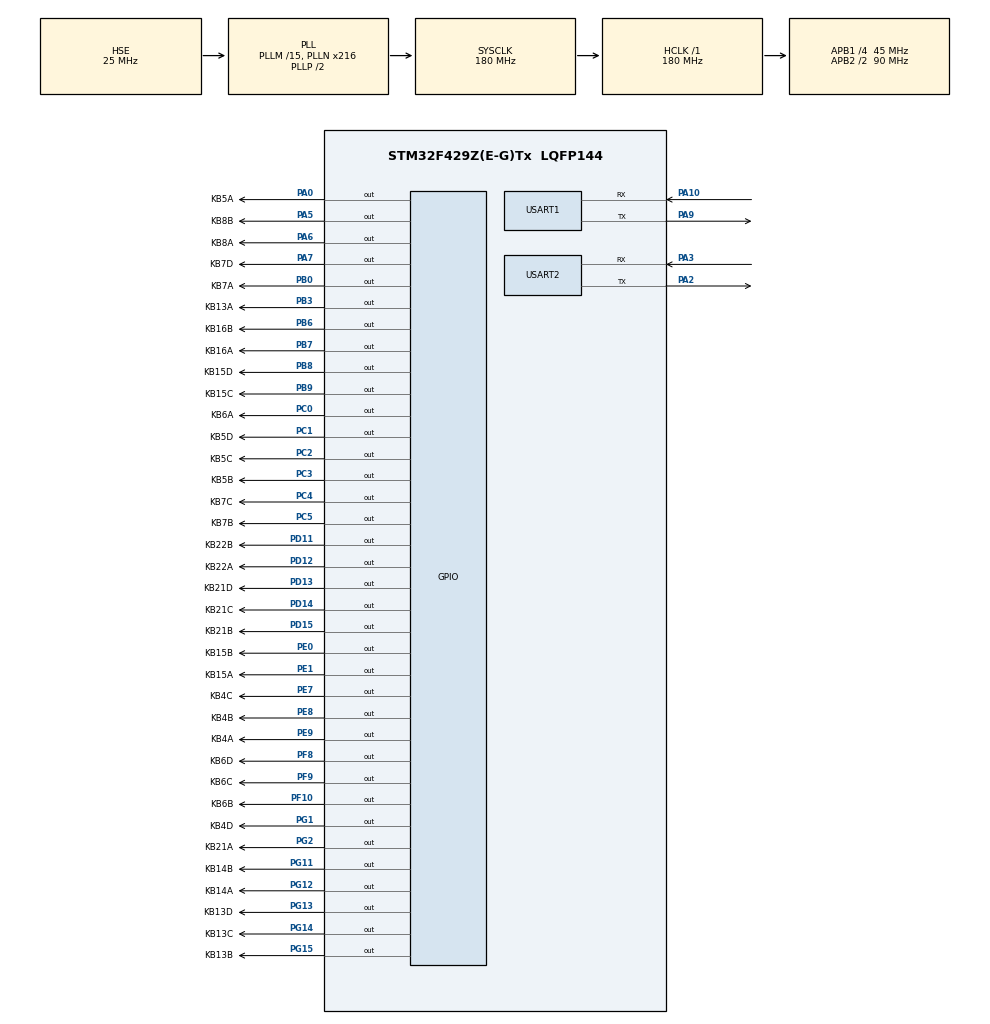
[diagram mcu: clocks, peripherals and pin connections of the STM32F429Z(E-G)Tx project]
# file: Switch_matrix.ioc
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Mcu.Family=STM32F4
Mcu.Name=STM32F429Z(E-G)Tx
Mcu.Package=LQFP144
NVIC.PriorityGroup=NVIC_PRIORITYGROUP_2
NVIC.USART1_IRQn=true\:1\:1\:true\:false\:true\:true\:true\:true
NVIC.USART2_IRQn=true\:1\:0\:true\:false\:true\:true\:true\:true
PA0/WKUP.GPIO_Label=KB5A
PA0/WKUP.Signal=GPIO_Output
PA10.Mode=Asynchronous
PA10.Signal=USART1_RX
PA13.Mode=Serial_Wire
PA13.Signal=SYS_JTMS-SWDIO
PA14.Mode=Serial_Wire
PA14.Signal=SYS_JTCK-SWCLK
PA2.Mode=Asynchronous
PA2.Signal=USART2_TX
PA3.Mode=Asynchronous
PA3.Signal=USART2_RX
PA5.GPIO_Label=KB8B
PA5.Signal=GPIO_Output
PA6.GPIO_Label=KB8A
PA6.Signal=GPIO_Output
PA7.GPIO_Label=KB7D
PA7.Signal=GPIO_Output
PA9.Mode=Asynchronous
PA9.Signal=USART1_TX
PB0.GPIO_Label=KB7A
PB0.Signal=GPIO_Output
PB3.GPIO_Label=KB13A
PB3.Signal=GPIO_Output
PB6.GPIO_Label=KB16B
PB6.Signal=GPIO_Output
PB7.GPIO_Label=KB16A
PB7.Signal=GPIO_Output
PB8.GPIO_Label=KB15D
PB8.Signal=GPIO_Output
PB9.GPIO_Label=KB15C
PB9.Signal=GPIO_Output
PC0.GPIO_Label=KB6A
PC0.Signal=GPIO_Output
PC1.GPIO_Label=KB5D
PC1.Signal=GPIO_Output
PC14/OSC32_IN.Mode=LSE-External-Oscillator
PC14/OSC32_IN.Signal=RCC_OSC32_IN
PC15/OSC32_OUT.Mode=LSE-External-Oscillator
PC15/OSC32_OUT.Signal=RCC_OSC32_OUT
PC2.GPIO_Label=KB5C
PC2.Signal=GPIO_Output
PC3.GPIO_Label=KB5B
PC3.Signal=GPIO_Output
PC4.GPIO_Label=KB7C
PC4.Signal=GPIO_Output
PC5.GPIO_Label=KB7B
PC5.Signal=GPIO_Output
PD11.GPIO_Label=KB22B
PD11.Signal=GPIO_Output
PD12.GPIO_Label=KB22A
PD12.Signal=GPIO_Output
PD13.GPIO_Label=KB21D
PD13.Signal=GPIO_Output
PD14.GPIO_Label=KB21C
PD14.Signal=GPIO_Output
PD15.GPIO_Label=KB21B
PD15.Signal=GPIO_Output
PE0.GPIO_Label=KB15B
PE0.Signal=GPIO_Output
PE1.GPIO_Label=KB15A
PE1.Signal=GPIO_Output
PE7.GPIO_Label=KB4C
PE7.Signal=GPIO_Output
PE8.GPIO_Label=KB4B
PE8.Signal=GPIO_Output
PE9.GPIO_Label=KB4A
PE9.Signal=GPIO_Output
PF10.GPIO_Label=KB6B
PF10.Signal=GPIO_Output
PF8.GPIO_Label=KB6D
PF8.Signal=GPIO_Output
PF9.GPIO_Label=KB6C
PF9.Signal=GPIO_Output
PG1.GPIO_Label=KB4D
PG1.Signal=GPIO_Output
PG11.GPIO_Label=KB14B
PG11.Signal=GPIO_Output
PG12.GPIO_Label=KB14A
PG12.Signal=GPIO_Output
PG13.GPIO_Label=KB13D
PG13.Signal=GPIO_Output
PG14.GPIO_Label=KB13C
PG14.Signal=GPIO_Output
PG15.GPIO_Label=KB13B
PG15.Signal=GPIO_Output
PG2.GPIO_Label=KB21A
PG2.Signal=GPIO_Output
PH0/OSC_IN.Mode=HSE-External-Oscillator
PH0/OSC_IN.Signal=RCC_OSC_IN
PH1/OSC_OUT.Mode=HSE-External-Oscillator
PH1/OSC_OUT.Signal=RCC_OSC_OUT
ProjectManager.HeapSize=0x200
ProjectManager.StackSize=0x400
ProjectManager.TargetToolchain=MDK-ARM V5.32
RCC.48MHZClocksFreq_Value=90000000
RCC.AHBFreq_Value=180000000
RCC.APB1CLKDivider=RCC_HCLK_DIV4
RCC.APB1Freq_Value=45000000
RCC.APB1TimFreq_Value=90000000
RCC.APB2CLKDivider=RCC_HCLK_DIV2
RCC.APB2Freq_Value=90000000
RCC.APB2TimFreq_Value=180000000
RCC.CortexFreq_Value=180000000
RCC.HCLKFreq_Value=180000000
RCC.HSE_VALUE=25000000
RCC.HSI_VALUE=16000000
RCC.PLLM=15
RCC.PLLN=216
RCC.PLLSourceVirtual=RCC_PLLSOURCE_HSE
RCC.SYSCLKFreq_VALUE=180000000
RCC.SYSCLKSource=RCC_SYSCLKSOURCE_PLLCLK
RCC.VCOOutputFreq_Value=360000000
USART1.VirtualMode=VM_ASYNC
USART2.VirtualMode=VM_ASYNC
board=custom

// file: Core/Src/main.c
/* USER CODE BEGIN Header */
/**
  ******************************************************************************
  * @file           : main.c
  * @brief          : Main program body
  ******************************************************************************
  * @attention
  *
  * Copyright (c) 2022 STMicroelectronics.
  * All rights reserved.
  *
  * This software is licensed under terms that can be found in the LICENSE file
  * in the root directory of this software component.
  * If no LICENSE file comes with this software, it is provided AS-IS.
  *
  ******************************************************************************
  */
/* USER CODE END Header */
#include "main.h"
#include "usart.h"
#include "gpio.h"

/* USER CODE BEGIN Includes */
#include "stm32f4xx_it.h"
#include "string.h"
/* USER CODE END Includes */

/* USER CODE BEGIN PD */
#define USART_REC_LEN  			200  	//定义最大接收字节数 200
#define  UART_ENABLE_RE(USARTx)       USARTx.Instance->CR1|= (uint32_t)0x0004
#define  UART_DISABLE_RE(USARTx)      USARTx.Instance->CR1&= (~(uint32_t)0x0004)
/* USER CODE END PD */

void SystemClock_Config(void);
/* USER CODE BEGIN PFP */
void Data_Processing(void);  //串口数据处理函数
/* 入口参数
 * mode： 输入输出模式 0：输入 1： 输出
 * Number:  选择打开的链路
 */
void GPIO_CONTROL_STATUS(uint8_t mode ,uint8_t Number);
/* USER CODE END PFP */

/* USER CODE BEGIN 0 */

uint8_t Recevice_Buff[USART_REC_LEN];   //接收缓冲区
//接收状态
//bit15，	接收完成标志
//bit14，	接收到帧头
//bit13，  接收到正确数据类型
//bit12，  接收到数据长度
//bit11，  接收到帧尾
//bit10~0，	接收到的有效字节数目
uint16_t USART_RX_STA = 0;       //接收状态标记
#define RXBUFFERSIZE  1
extern uint8_t aRxBuffer[RXBUFFERSIZE];
uint8_t Recevice_Len = 2;
uint8_t Recevice_Len_temp = 2;   //接收数据的长度  默认为2  一个输入 一个输出
uint8_t Usart_Flag = 0;   //0: 串口一发送的数据 1： 串口二发送的数据
/* USER CODE END 0 */

int main(void)
{

  /* MCU Configuration--------------------------------------------------------*/

  /* Reset of all peripherals, Initializes the Flash interface and the Systick. */
  HAL_Init();

  /* Configure the system clock */
  SystemClock_Config();

  /* Initialize all configured peripherals */
  MX_GPIO_Init();
  MX_USART1_UART_Init();
  MX_USART2_UART_Init();

  /* Infinite loop */
  /* USER CODE BEGIN WHILE */
  while (1)
  {
		if(USART_RX_STA&0x8000) //接收到数据
		{
			//数据解析 以防数据覆盖关闭串口接收
			#if 1
			UART_DISABLE_RE(huart1);
			UART_DISABLE_RE(huart2);
			#endif
			//发送接收到的数据
			if(Usart_Flag == 0)
			{
				HAL_UART_Transmit(&huart1,(uint8_t *)Recevice_Buff,USART_RX_STA&0x0fff,1000);
				while(__HAL_UART_GET_FLAG(&huart1,UART_FLAG_TC)!=SET);		//等待发送结束
			}
			else if(Usart_Flag == 1)
			{
				HAL_UART_Transmit(&huart2,(uint8_t *)Recevice_Buff,USART_RX_STA&0x0fff,1000);
				while(__HAL_UART_GET_FLAG(&huart2,UART_FLAG_TC)!=SET);		//等待发送结束
			}

			//输入链路选择
			switch(Recevice_Buff[0])
			{
				case 0x00: All_GPIO_RESET(0); break;
				case 0x01: GPIO_CONTROL_STATUS(0,1); break;
				case 0x02: GPIO_CONTROL_STATUS(0,2); break;
				case 0x03: GPIO_CONTROL_STATUS(0,3); break;
				case 0x04: GPIO_CONTROL_STATUS(0,4); break;
				default :break;
			}
			//输出链路选择
			switch(Recevice_Buff[1])
			{
				case 0x00: All_GPIO_RESET(1); break;
				case 0x01: GPIO_CONTROL_STATUS(1,1); break;
				case 0x02: GPIO_CONTROL_STATUS(1,2); break;
				case 0x03: GPIO_CONTROL_STATUS(1,3); break;
				case 0x04: GPIO_CONTROL_STATUS(1,4); break;
				case 0x05: GPIO_CONTROL_STATUS(1,5); break;
				case 0x06: GPIO_CONTROL_STATUS(1,6); break;
				case 0x07: GPIO_CONTROL_STATUS(1,7); break;
				case 0x08: GPIO_CONTROL_STATUS(1,8); break;
				case 0x09: GPIO_CONTROL_STATUS(1,9); break;
				case 0x0a: GPIO_CONTROL_STATUS(1,10);break;
				case 0x0b: GPIO_CONTROL_STATUS(1,11);break;
				case 0x0c: GPIO_CONTROL_STATUS(1,12);break;
				case 0x0d: GPIO_CONTROL_STATUS(1,13);break;
				case 0x0e: GPIO_CONTROL_STATUS(1,14);break;
				case 0x0f: GPIO_CONTROL_STATUS(1,15);break;
				case 0x10: GPIO_CONTROL_STATUS(1,16);break;
				case 0x11: GPIO_CONTROL_STATUS(1,17);break;
				case 0x12: GPIO_CONTROL_STATUS(1,18);break;
				case 0x13: GPIO_CONTROL_STATUS(1,19);break;
				case 0x14: GPIO_CONTROL_STATUS(1,20);break;
				case 0x15: GPIO_CONTROL_STATUS(1,21);break;
				case 0x16: GPIO_CONTROL_STATUS(1,22);break;
				case 0x17: GPIO_CONTROL_STATUS(1,23);break;
				case 0x18: GPIO_CONTROL_STATUS(1,24);break;
				default :break;
			}
			//清除数据及接收标准位
			memset(Recevice_Buff,0x00,USART_RX_STA&0x0fff);
			USART_RX_STA = 0;
			Recevice_Len_temp = Recevice_Len;
			//使能串口接收
			#if 1
			UART_ENABLE_RE(huart1);
			UART_ENABLE_RE(huart2);
			#endif
		}
		else
		{
			__WFI();  //未接受到数据进入睡眠模式
		}
    /* USER CODE END WHILE */

  }
}

void SystemClock_Config(void)
{
  RCC_OscInitTypeDef RCC_OscInitStruct = {0};
  RCC_ClkInitTypeDef RCC_ClkInitStruct = {0};

  /** Configure the main internal regulator output voltage
  */
  __HAL_RCC_PWR_CLK_ENABLE();
  __HAL_PWR_VOLTAGESCALING_CONFIG(PWR_REGULATOR_VOLTAGE_SCALE1);

  /** Initializes the RCC Oscillators according to the specified parameters
  * in the RCC_OscInitTypeDef structure.
  */
  RCC_OscInitStruct.OscillatorType = RCC_OSCILLATORTYPE_HSE;
  RCC_OscInitStruct.HSEState = RCC_HSE_ON;
  RCC_OscInitStruct.PLL.PLLState = RCC_PLL_ON;
  RCC_OscInitStruct.PLL.PLLSource = RCC_PLLSOURCE_HSE;
  RCC_OscInitStruct.PLL.PLLM = 15;
  RCC_OscInitStruct.PLL.PLLN = 216;
  RCC_OscInitStruct.PLL.PLLP = RCC_PLLP_DIV2;
  RCC_OscInitStruct.PLL.PLLQ = 4;
  if (HAL_RCC_OscConfig(&RCC_OscInitStruct) != HAL_OK)
  {
    Error_Handler();
  }

  /** Activate the Over-Drive mode
  */
  if (HAL_PWREx_EnableOverDrive() != HAL_OK)
  {
    Error_Handler();
  }

  /** Initializes the CPU, AHB and APB buses clocks
  */
  RCC_ClkInitStruct.ClockType = RCC_CLOCKTYPE_HCLK|RCC_CLOCKTYPE_SYSCLK
                              |RCC_CLOCKTYPE_PCLK1|RCC_CLOCKTYPE_PCLK2;
  RCC_ClkInitStruct.SYSCLKSource = RCC_SYSCLKSOURCE_PLLCLK;
  RCC_ClkInitStruct.AHBCLKDivider = RCC_SYSCLK_DIV1;
  RCC_ClkInitStruct.APB1CLKDivider = RCC_HCLK_DIV4;
  RCC_ClkInitStruct.APB2CLKDivider = RCC_HCLK_DIV2;

  if (HAL_RCC_ClockConfig(&RCC_ClkInitStruct, FLASH_LATENCY_5) != HAL_OK)
  {
    Error_Handler();
  }
}

/* USER CODE BEGIN 4 */

//接收中断回调函数
void HAL_UART_RxCpltCallback(UART_HandleTypeDef *huart)
{
	UNUSED(huart);
	if(huart->Instance==USART1)//如果是串口1
	{
		Usart_Flag = 0;
		Data_Processing();
		HAL_UART_Receive_IT(&huart1, (uint8_t *)aRxBuffer, RXBUFFERSIZE);
	}
	else if(huart->Instance==USART2)
	{
		Usart_Flag = 1;
		Data_Processing();
		HAL_UART_Receive_IT(&huart2, (uint8_t *)aRxBuffer, RXBUFFERSIZE);
	}
}
//bit15，	接收完成标志
//bit14，	接收到帧头
//bit11~0，	接收到的有效字节数目
//串口接收处理函数
void Data_Processing(void)
{
	if((USART_RX_STA&0x8000)==0)//接收未完成
	{
		if(USART_RX_STA&0x4000)//接收到了帧头
		{
			if(Recevice_Len_temp>0)
			{
				Recevice_Buff[USART_RX_STA&0x0fff] = aRxBuffer[0];
				USART_RX_STA ++;
				Recevice_Len_temp--;
			}
			else
			{
				if(aRxBuffer[0]==0xC1)
				{
					USART_RX_STA|=0x8000;
				}
				else  //接收错误
				{
					memset(Recevice_Buff,0x00,USART_RX_STA&0x0fff);
					USART_RX_STA = 0;
				}
			}
		}
		else //还没收到0XC0 帧头
		{
			if(aRxBuffer[0]==0xC0)USART_RX_STA|=0x4000;
			else
			{
				USART_RX_STA = 0;  //接收错误
			}
		}
	}
}

void GPIO_CONTROL_STATUS(uint8_t mode, uint8_t Number)
{
	All_GPIO_RESET(mode);  //拉低对应IO
	switch(mode)
	{
		case 0:
			switch(Number)
			{
				case 1: HAL_GPIO_WritePin(KB4A_GPIO_Port,KB4A_Pin,GPIO_PIN_SET); break;
				case 2: HAL_GPIO_WritePin(KB4B_GPIO_Port,KB4B_Pin,GPIO_PIN_SET); break;
				case 3: HAL_GPIO_WritePin(KB4C_GPIO_Port,KB4C_Pin,GPIO_PIN_SET); break;
				case 4: HAL_GPIO_WritePin(KB4D_GPIO_Port,KB4D_Pin,GPIO_PIN_SET); break;
				default : break;
			}break;
		case 1:
			switch(Number)
			{
				case 1:
					HAL_GPIO_WritePin(KB6A_GPIO_Port,KB6A_Pin,GPIO_PIN_SET);
					HAL_GPIO_WritePin(KB7A_GPIO_Port,KB7A_Pin,GPIO_PIN_SET); break;
				case 2:
					HAL_GPIO_WritePin(KB6A_GPIO_Port,KB6A_Pin,GPIO_PIN_SET);
					HAL_GPIO_WritePin(KB7B_GPIO_Port,KB7B_Pin,GPIO_PIN_SET); break;
				case 3:
					HAL_GPIO_WritePin(KB6A_GPIO_Port,KB6A_Pin,GPIO_PIN_SET);
					HAL_GPIO_WritePin(KB7C_GPIO_Port,KB7C_Pin,GPIO_PIN_SET); break;
				case 4:
					HAL_GPIO_WritePin(KB6A_GPIO_Port,KB6A_Pin,GPIO_PIN_SET);
					HAL_GPIO_WritePin(KB7D_GPIO_Port,KB7D_Pin,GPIO_PIN_SET); break;
				case 5:
					HAL_GPIO_WritePin(KB6A_GPIO_Port,KB6A_Pin,GPIO_PIN_SET);
					HAL_GPIO_WritePin(KB8A_GPIO_Port,KB8A_Pin,GPIO_PIN_SET); break;
				case 6:
					HAL_GPIO_WritePin(KB6A_GPIO_Port,KB6A_Pin,GPIO_PIN_SET);
					HAL_GPIO_WritePin(KB8B_GPIO_Port,KB8B_Pin,GPIO_PIN_SET); break;
				case 7:
					HAL_GPIO_WritePin(KB6B_GPIO_Port,KB6B_Pin,GPIO_PIN_SET);
					HAL_GPIO_WritePin(KB13A_GPIO_Port,KB13A_Pin,GPIO_PIN_SET); break;
				case 8:
					HAL_GPIO_WritePin(KB6B_GPIO_Port,KB6B_Pin,GPIO_PIN_SET);
					HAL_GPIO_WritePin(KB13B_GPIO_Port,KB13B_Pin,GPIO_PIN_SET); break;
				case 9:
					HAL_GPIO_WritePin(KB6B_GPIO_Port,KB6B_Pin,GPIO_PIN_SET);
					HAL_GPIO_WritePin(KB13C_GPIO_Port,KB13C_Pin,GPIO_PIN_SET); break;
				case 10:
					HAL_GPIO_WritePin(KB6B_GPIO_Port,KB6B_Pin,GPIO_PIN_SET);
					HAL_GPIO_WritePin(KB13D_GPIO_Port,KB13D_Pin,GPIO_PIN_SET); break;
				case 11:
					HAL_GPIO_WritePin(KB6B_GPIO_Port,KB6B_Pin,GPIO_PIN_SET);
					HAL_GPIO_WritePin(KB14A_GPIO_Port,KB14A_Pin,GPIO_PIN_SET); break;
				case 12:
					HAL_GPIO_WritePin(KB6B_GPIO_Port,KB6B_Pin,GPIO_PIN_SET);
					HAL_GPIO_WritePin(KB14B_GPIO_Port,KB14B_Pin,GPIO_PIN_SET); break;
				case 13:
					HAL_GPIO_WritePin(KB6C_GPIO_Port,KB6C_Pin,GPIO_PIN_SET);
					HAL_GPIO_WritePin(KB15A_GPIO_Port,KB15A_Pin,GPIO_PIN_SET); break;
				case 14:
					HAL_GPIO_WritePin(KB6C_GPIO_Port,KB6C_Pin,GPIO_PIN_SET);
					HAL_GPIO_WritePin(KB15B_GPIO_Port,KB15B_Pin,GPIO_PIN_SET); break;
				case 15:
					HAL_GPIO_WritePin(KB6C_GPIO_Port,KB6C_Pin,GPIO_PIN_SET);
					HAL_GPIO_WritePin(KB15C_GPIO_Port,KB15C_Pin,GPIO_PIN_SET); break;
				case 16:
					HAL_GPIO_WritePin(KB6C_GPIO_Port,KB6C_Pin,GPIO_PIN_SET);
					HAL_GPIO_WritePin(KB15D_GPIO_Port,KB15D_Pin,GPIO_PIN_SET); break;
				case 17:
					HAL_GPIO_WritePin(KB6C_GPIO_Port,KB6C_Pin,GPIO_PIN_SET);
					HAL_GPIO_WritePin(KB16A_GPIO_Port,KB16A_Pin,GPIO_PIN_SET); break;
				case 18:
					HAL_GPIO_WritePin(KB6C_GPIO_Port,KB6C_Pin,GPIO_PIN_SET);
					HAL_GPIO_WritePin(KB16B_GPIO_Port,KB16B_Pin,GPIO_PIN_SET); break;
				case 19:
					HAL_GPIO_WritePin(KB6D_GPIO_Port,KB6D_Pin,GPIO_PIN_SET);
					HAL_GPIO_WritePin(KB21A_GPIO_Port,KB21A_Pin,GPIO_PIN_SET); break;
				case 20:
					HAL_GPIO_WritePin(KB6D_GPIO_Port,KB6D_Pin,GPIO_PIN_SET);
					HAL_GPIO_WritePin(KB21B_GPIO_Port,KB21B_Pin,GPIO_PIN_SET); break;
				case 21:
					HAL_GPIO_WritePin(KB6D_GPIO_Port,KB6D_Pin,GPIO_PIN_SET);
					HAL_GPIO_WritePin(KB21C_GPIO_Port,KB21C_Pin,GPIO_PIN_SET); break;
				case 22:
					HAL_GPIO_WritePin(KB6D_GPIO_Port,KB6D_Pin,GPIO_PIN_SET);
					HAL_GPIO_WritePin(KB21D_GPIO_Port,KB21D_Pin,GPIO_PIN_SET); break;
				case 23:
					HAL_GPIO_WritePin(KB6D_GPIO_Port,KB6D_Pin,GPIO_PIN_SET);
					HAL_GPIO_WritePin(KB22A_GPIO_Port,KB22A_Pin,GPIO_PIN_SET); break;
				case 24:
					HAL_GPIO_WritePin(KB6D_GPIO_Port,KB6D_Pin,GPIO_PIN_SET);
					HAL_GPIO_WritePin(KB22B_GPIO_Port,KB22B_Pin,GPIO_PIN_SET); break;
				default : break;
			};break;
		default :  break;
	}
}

/* USER CODE END 4 */

void Error_Handler(void)
{
  __disable_irq();
  while (1)
  {
  }
}
